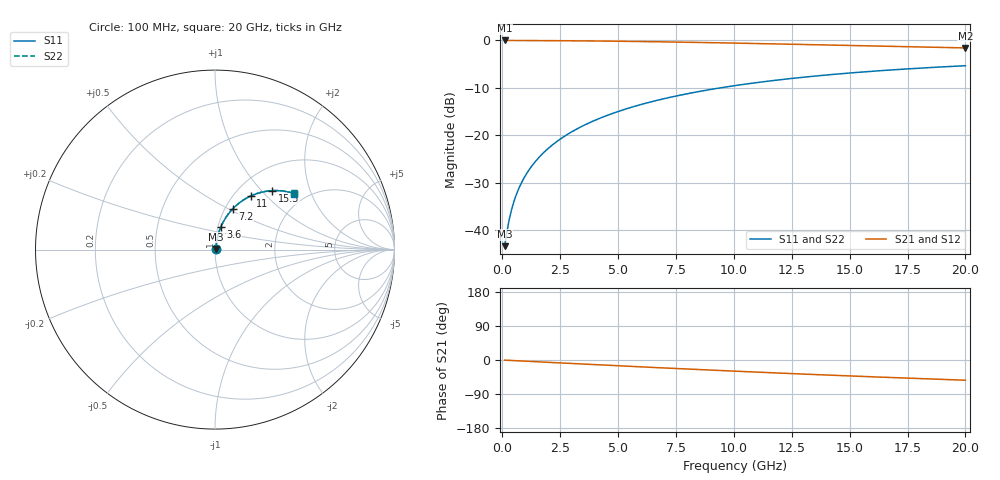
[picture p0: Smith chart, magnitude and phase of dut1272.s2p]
! Touchstone file exported from HFSS 2026.1.0
!  File:  C:/ffzhzh/LocalFiles/Ansys_Project_Files/temp_train_BSMRDL_1272_1783177680_18472.aedt
!  Generated:  11:09:24 PM Jul  4, 2026
!  Design:  BSMRDL
!  Project:  temp_train_BSMRDL_1272_1783177680_18472
! Variables:
!  h_bsmrdl = 2.41um
!  h_ox = 20um
!  h_rdl = 5um
!  h_sub = 80um
!  h_tmrdl = 5um
!  h_tsv = 80um
!  h_via = 3um
!  l_bsmrdl = 747.49um
!  l_sub = 1147.49um
!  l_tmrdl = 200um
!  m_sub = 200um
!  pitch = 59.3um
!  r_tsv = 6um
!  s_tmrdl = 10um
!  w_bsmrdl = 20.25um
!  w_sub = 500um
!  w_tmrdl = 12um
!  x_tsv_center1 = 206um
!  x_tsv_center2 = 973.74um
!  x_tsv_center3 = 1185.74um
!  x_tsv_center4 = 1953.48um
!  x_tsv_center5 = 2165.48um
!  x_tsv_center6 = 2933.22um
# GHz S MA R 50.000000
! Terminal data exported
! Port[1] = BSM_RDL1_1_T1
! Port[2] = BSM_RDL1_1_T2
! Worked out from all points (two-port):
!   200 points, 100 MHz to 20 GHz, reference 50 ohm
!   highest |S21| = -0.05 dB at 100 MHz (marker M1); lowest = -1.6 dB at 20 GHz (marker M2)
!   |S21| within 3 dB of the highest: start of sweep to end of sweep
!   lowest |S11| = -43.3 dB at 100 MHz (marker M3), VSWR 1.01, Z = 50.6 + j0.393 ohm
!   |S11| at or under -10 dB: start of sweep to 9.434 GHz
!   |S22| runs from -43.3 to -5.4 dB; largest |S21 - S12| = 5e-15
!   S11 on the Smith chart (normalised r, x): 100 MHz: 1.01, +0.01; 3.6 GHz: 1.03, +0.26; 7.2 GHz: 1.09, +0.53; 11 GHz: 1.19, +0.82; 15.3 GHz: 1.39, +1.15; 20 GHz: 1.73, +1.52
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0.1  0.00684 34.6  0.9944 -0.3  0.9944 -0.3  0.00684 34.6
! Gamma 0 0 0 0
! Port Impedance 50 0 50 0
0.2  0.009675 53.1  0.9942 -0.6  0.9942 -0.6  0.009675 53.1
0.3  0.01303 62.2  0.994 -1.0  0.994 -1.0  0.01303 62.2
0.4  0.01653 67.2  0.9938 -1.3  0.9938 -1.3  0.01653 67.2
0.5  0.02008 70.3  0.9936 -1.6  0.9936 -1.6  0.02008 70.3
0.6  0.02363 72.4  0.9933 -1.9  0.9933 -1.9  0.02363 72.4
0.8  0.03074 75.0  0.9929 -2.5  0.9929 -2.5  0.03074 75.0
1.1  0.0414 77.0  0.9923 -3.4  0.9923 -3.4  0.0414 77.0
1.6  0.05921 78.1  0.9911 -4.9  0.9911 -4.9  0.05921 78.1
2.1  0.07704 78.1  0.9897 -6.5  0.9897 -6.5  0.07703 78.1
2.7  0.09835 77.3  0.9877 -8.3  0.9877 -8.3  0.09835 77.4
3.5  0.1265 75.8  0.9843 -10.7  0.9843 -10.7  0.1265 75.8
3.6  0.13 75.6  0.9838 -11.0  0.9838 -11.0  0.13 75.6
5  0.1781 72.1  0.9759 -15.2  0.9759 -15.2  0.1781 72.2
6.8  0.237 67.4  0.9627 -20.4  0.9627 -20.4  0.237 67.5
7.2  0.2496 66.3  0.9594 -21.6  0.9594 -21.6  0.2496 66.4
10.1  0.3348 58.6  0.9323 -29.6  0.9323 -29.6  0.3347 58.7
11  0.3589 56.3  0.9231 -32.0  0.9231 -32.0  0.3588 56.4
13.4  0.4175 50.3  0.8977 -38.2  0.8977 -38.2  0.4175 50.4
15.3  0.4583 45.7  0.8774 -42.8  0.8774 -42.8  0.4583 45.9
16.7  0.4853 42.5  0.8627 -46.0  0.8627 -46.0  0.4853 42.7
20  0.5395 35.3  0.83 -53.3  0.83 -53.3  0.5394 35.6
